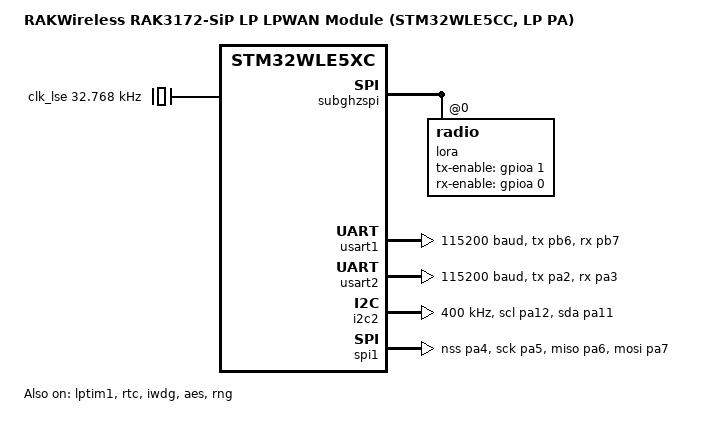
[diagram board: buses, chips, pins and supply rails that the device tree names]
/*
 * Copyright (c) 2025 evoly
 * SPDX-License-Identifier: Apache-2.0
 *
 * RAK3172-SiP LP — STM32WLE5JC, LP PA variant (+14 dBm).
 *
 * Differences from rak3172 (upstream module board):
 *   - Package: WLCSP73/LGA73 (JC) → stm32wle5jcix-pinctrl.dtsi
 *   - RF switch: PA1 (RF_TX, HIGH during TX), PA0 (RF_RX, HIGH during RX)
 *     instead of PC13 (FE_CTRL1) / PB8 (FE_CTRL2).
 *   - TCXO: DIO3 supplies 1.7 V to the external TCXO, 5 ms startup time.
 *   - PA: LP output (rfo-lp, +14 dBm).
 *   - Clock: HSI (no external HSE crystal) → PLL at 48 MHz.
 *
 * For the HP PA variant use rak3172_sip.
 */

/dts-v1/;
#include <st/wl/stm32wle5Xc.dtsi>
#include <st/wl/stm32wle5jcix-pinctrl.dtsi>

/ {
	model = "RAKWireless RAK3172-SiP LP LPWAN Module (STM32WLE5CC, LP PA)";
	compatible = "rakwireless,rak3172lp-sip";

	chosen {
		zephyr,console = &usart1;
		zephyr,shell-uart = &usart1;
		zephyr,sram = &sram0;
		zephyr,flash = &flash0;
		zephyr,code-partition = &slot0_partition;
	};

	aliases {
		lora0 = &lora;
		watchdog0 = &iwdg;
	};
};

&clk_hsi {
	status = "okay";
};

&clk_lse {
	status = "okay";
	clock-frequency = <32768>;
};

&subghzspi {
	status = "okay";

	lora: radio@0 {
		status = "okay";
		tx-enable-gpios = <&gpioa 1 GPIO_ACTIVE_HIGH>; /* RF_TX */
		rx-enable-gpios = <&gpioa 0 GPIO_ACTIVE_HIGH>; /* RF_RX */
		dio3-tcxo-voltage = <SX126X_DIO3_TCXO_1V7>;
		tcxo-power-startup-delay-ms = <5>;
		power-amplifier-output = "rfo-lp";
		rfo-lp-max-power = <14>;
	};
};

&lptim1 {
	clocks = <&rcc STM32_CLOCK(APB1, 31U)>,
		 <&rcc STM32_SRC_LSE LPTIM1_SEL(3)>;
	status = "okay";
};

&pll {
	div-m = <1>;
	mul-n = <6>;
	div-r = <2>;
	div-q = <2>;
	clocks = <&clk_hsi>;
	status = "okay";
};

&rcc {
	clocks = <&pll>;
	clock-frequency = <DT_FREQ_M(48)>;
	cpu1-prescaler = <1>;
	ahb3-prescaler = <1>;
	apb1-prescaler = <1>;
	apb2-prescaler = <1>;
};

&usart1 {
	pinctrl-0 = <&usart1_tx_pb6 &usart1_rx_pb7>;
	pinctrl-names = "default";
	current-speed = <115200>;
	status = "okay";
};

&usart2 {
	pinctrl-0 = <&usart2_tx_pa2 &usart2_rx_pa3>;
	pinctrl-names = "default";
	current-speed = <115200>;
	status = "okay";
};

&i2c2 {
	pinctrl-0 = <&i2c2_scl_pa12 &i2c2_sda_pa11>;
	pinctrl-names = "default";
	status = "okay";
	clock-frequency = <I2C_BITRATE_FAST>;
};

&spi1 {
	pinctrl-0 = <&spi1_nss_pa4 &spi1_sck_pa5
		     &spi1_miso_pa6 &spi1_mosi_pa7>;
	pinctrl-names = "default";
	status = "okay";
};

&rtc {
	clocks = <&rcc STM32_CLOCK(APB1, 10U)>,
		 <&rcc STM32_SRC_LSE RTC_SEL(1)>;
	status = "okay";
};

&iwdg {
	status = "okay";
};

&aes {
	status = "okay";
};

&rng {
	status = "okay";
};

&flash0 {
	partitions {
		compatible = "fixed-partitions";
		#address-cells = <1>;
		#size-cells = <1>;

		boot_partition: partition@0 {
			label = "mcuboot";
			reg = <0x00000000 DT_SIZE_K(32)>;
			read-only;
		};

		slot0_partition: partition@8000 {
			label = "image-0";
			reg = <0x00008000 DT_SIZE_K(108)>;
		};

		slot1_partition: partition@23000 {
			label = "image-1";
			reg = <0x00023000 DT_SIZE_K(108)>;
		};

		storage_partition: partition@3e000 {
			label = "storage";
			reg = <0x0003e000 DT_SIZE_K(8)>;
		};
	};
};
